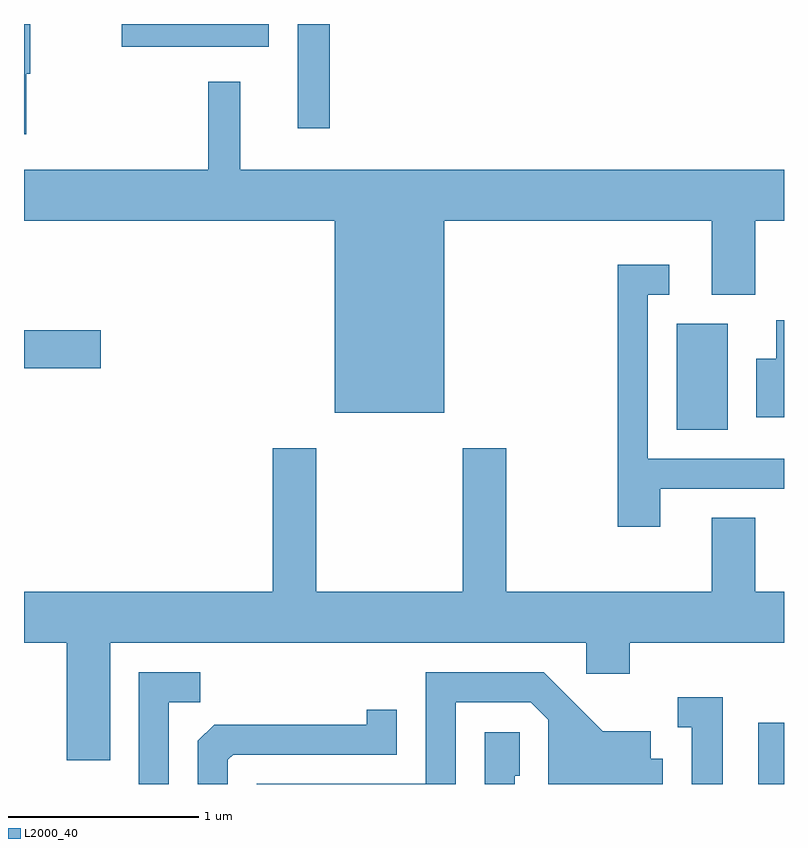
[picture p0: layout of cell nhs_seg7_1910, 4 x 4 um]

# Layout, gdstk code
import gdstk
lib = gdstk.Library(unit=1e-6, precision=1e-09)
def R(c, l, rs):  # rectangles x0, y0, x1, y1
    for r in rs: c.add(gdstk.rectangle(r[:2], r[2:], *l))
def P(c, l, *ps):  # polygons
    for p in ps: c.add(gdstk.Polygon(p, *l))
L2000_40 = (2000, 40)

nhs_seg7_1910 = lib.new_cell('nhs_seg7_1910')
R(nhs_seg7_1910, L2000_40, [(247.476,1700.252,247.611,1700.574), (247.046,1702.116,247.314,1702.674), (243.611,1702.441,244.014,1702.639), (245.051,1703.703,245.219,1704.252), (244.126,1704.131,244.899,1704.252)])
P(nhs_seg7_1910, L2000_40, [(243.624,1703.991),(243.644,1703.991),(243.644,1704.252),(243.611,1704.252),(243.611,1703.671),(243.624,1703.671)],
  [(245.824,1703.216),(247.231,1703.216),(247.231,1702.826),(247.459,1702.826),(247.459,1703.216),(247.611,1703.216),(247.611,1703.484),(244.749,1703.484),(244.749,1703.948),(244.581,1703.948),(244.581,1703.484),(243.611,1703.484),(243.611,1703.216),(245.246,1703.216),(245.246,1702.206),(245.824,1702.206)],
  [(246.959,1701.806),(247.611,1701.806),(247.611,1701.964),(246.894,1701.964),(246.894,1702.826),(247.008,1702.826),(247.008,1702.984),(246.736,1702.984),(246.736,1701.606),(246.959,1701.606)],
  [(247.611,1702.694),(247.571,1702.694),(247.571,1702.489),(247.466,1702.489),(247.466,1702.181),(247.611,1702.181)],
  [(244.064,1700.996),(246.571,1700.996),(246.571,1700.831),(246.799,1700.831),(246.799,1700.996),(247.611,1700.996),(247.611,1701.264),(247.459,1701.264),(247.459,1701.654),(247.231,1701.654),(247.231,1701.264),(246.149,1701.264),(246.149,1702.019),(245.921,1702.019),(245.921,1701.264),(245.149,1701.264),(245.149,1702.019),(244.921,1702.019),(244.921,1701.264),(243.611,1701.264),(243.611,1700.996),(243.836,1700.996),(243.836,1700.376),(244.064,1700.376)],
  [(244.374,1700.681),(244.538,1700.681),(244.538,1700.839),(244.216,1700.839),(244.216,1700.252),(244.374,1700.252)],
  [(245.884,1700.681),(246.279,1700.681),(246.371,1700.589),(246.371,1700.252),(246.974,1700.252),(246.974,1700.384),(246.909,1700.384),(246.909,1700.529),(246.657,1700.529),(246.347,1700.839),(245.726,1700.839),(245.726,1700.254),(244.836,1700.254),(244.836,1700.252),(245.884,1700.252)],
  [(247.289,1700.709),(247.053,1700.709),(247.053,1700.551),(247.126,1700.551),(247.126,1700.252),(247.289,1700.252)],
  [(244.684,1700.379),(244.712,1700.406),(245.574,1700.406),(245.574,1700.643),(245.416,1700.643),(245.416,1700.564),(244.612,1700.564),(244.526,1700.479),(244.526,1700.252),(244.684,1700.252)],
  [(246.194,1700.296),(246.219,1700.296),(246.219,1700.524),(246.036,1700.524),(246.036,1700.252),(246.194,1700.252)])

lib.write_gds('nhs_seg7_1910.gds')
